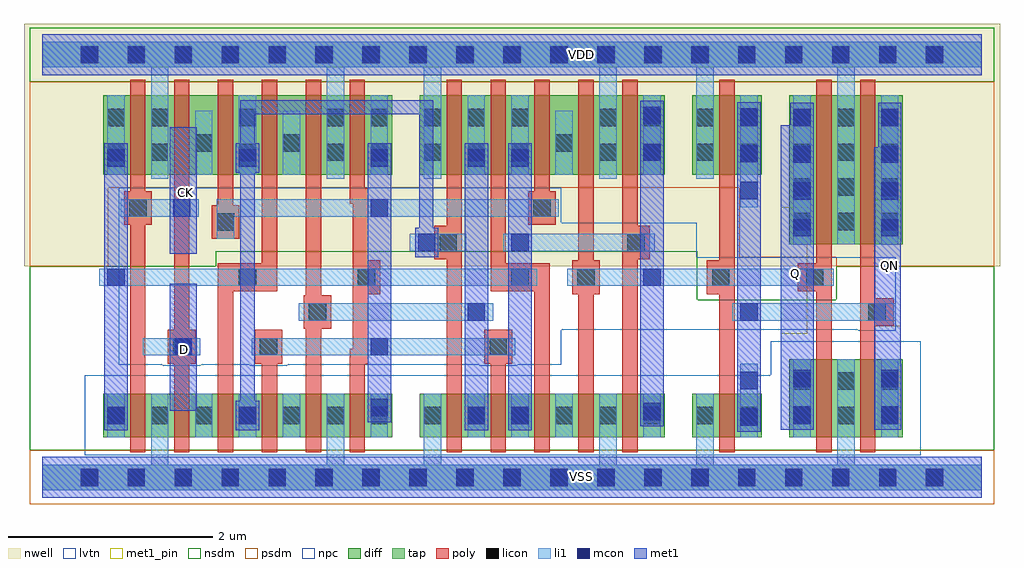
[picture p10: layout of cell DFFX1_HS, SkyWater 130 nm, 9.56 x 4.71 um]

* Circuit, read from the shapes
.subckt DFFX1_HS CK D Q QN VDD VSS
XM1 VSS CK n1 VSS sky130_fd_pr__nfet_01v8_lvt w=0.425 l=0.15
XM2 n2 D VSS VSS sky130_fd_pr__nfet_01v8_lvt w=0.425 l=0.15
XM3 n3 n1 n2 VSS sky130_fd_pr__nfet_01v8_lvt w=0.425 l=0.15
XM4 n4 n5 n3 VSS sky130_fd_pr__nfet_01v8_lvt w=0.425 l=0.15
XM5 VSS n6 n4 VSS sky130_fd_pr__nfet_01v8_lvt w=0.425 l=0.15
XM6 n5 n1 VSS VSS sky130_fd_pr__nfet_01v8_lvt w=0.425 l=0.15
XM7 n6 n3 VSS VSS sky130_fd_pr__nfet_01v8_lvt w=0.425 l=0.15
XM8 n7 n5 n6 VSS sky130_fd_pr__nfet_01v8_lvt w=0.425 l=0.15
XM9 n8 n1 n7 VSS sky130_fd_pr__nfet_01v8_lvt w=0.425 l=0.15
XM10 VSS n9 n8 VSS sky130_fd_pr__nfet_01v8_lvt w=0.425 l=0.15
XM11 n9 n7 VSS VSS sky130_fd_pr__nfet_01v8_lvt w=0.425 l=0.15
XM12 n10 n9 VSS VSS sky130_fd_pr__nfet_01v8_lvt w=0.425 l=0.15
XM13 VSS n9 Q VSS sky130_fd_pr__nfet_01v8_lvt w=0.76 l=0.15
XM14 QN n10 VSS VSS sky130_fd_pr__nfet_01v8_lvt w=0.76 l=0.15
XM15 VDD CK n1 VDD sky130_fd_pr__pfet_01v8 w=0.78 l=0.15
XM16 n11 D VDD VDD sky130_fd_pr__pfet_01v8 w=0.78 l=0.15
XM17 n3 n5 n11 VDD sky130_fd_pr__pfet_01v8 w=0.78 l=0.15
XM18 n12 n1 n3 VDD sky130_fd_pr__pfet_01v8 w=0.78 l=0.15
XM19 VDD n6 n12 VDD sky130_fd_pr__pfet_01v8 w=0.78 l=0.15
XM20 n5 n1 VDD VDD sky130_fd_pr__pfet_01v8 w=0.78 l=0.15
XM21 n6 n3 VDD VDD sky130_fd_pr__pfet_01v8 w=0.78 l=0.15
XM22 n7 n1 n6 VDD sky130_fd_pr__pfet_01v8 w=0.78 l=0.15
XM23 n13 n5 n7 VDD sky130_fd_pr__pfet_01v8 w=0.78 l=0.15
XM24 VDD n9 n13 VDD sky130_fd_pr__pfet_01v8 w=0.78 l=0.15
XM25 n9 n7 VDD VDD sky130_fd_pr__pfet_01v8 w=0.78 l=0.15
XM26 n10 n9 VDD VDD sky130_fd_pr__pfet_01v8 w=0.78 l=0.15
XM27 VDD n9 Q VDD sky130_fd_pr__pfet_01v8 w=1.46 l=0.15
XM28 QN n10 VDD VDD sky130_fd_pr__pfet_01v8 w=1.46 l=0.15
.ends

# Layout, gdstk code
from math import pi, radians
import gdstk
lib = gdstk.Library(unit=1e-6, precision=1e-09)
def R(c, l, rs):  # rectangles x0, y0, x1, y1
    for r in rs: c.add(gdstk.rectangle(r[:2], r[2:], *l))
def A(c, l, x, y, w, h, nx, ny, dx, dy):  # array of equal rectangles
    R(c, l, [(x+i*dx, y+j*dy, x+i*dx+w, y+j*dy+h) for i in range(nx) for j in range(ny)])
def P(c, l, *ps):  # polygons
    for p in ps: c.add(gdstk.Polygon(p, *l))
nwell = (64, 20)
diff = (65, 20)
tap = (65, 44)
poly = (66, 20)
licon = (66, 44)
li1 = (67, 20)
mcon = (67, 44)
met1_pin = (68, 16)
met1 = (68, 20)
nsdm = (93, 44)
psdm = (94, 20)
npc = (95, 20)
lvtn = (125, 44)

licondiff_c_cdns_7520165 = lib.new_cell('LICONDIFF_C_CDNS_752016586819')
R(licondiff_c_cdns_7520165, diff, [(-0.125,-0.145,0.125,0.145)])
R(licondiff_c_cdns_7520165, licon, [(-0.085,-0.085,0.085,0.085), (-0.085,-0.085,0.085,0.085)])

pyl1con_c_cdns_752016586 = lib.new_cell('PYL1CON_C_CDNS_752016586813')
R(pyl1con_c_cdns_752016586, poly, [(-0.135,-0.165,0.135,0.165)])
R(pyl1con_c_cdns_752016586, licon, [(-0.085,-0.085,0.085,0.085)])
R(pyl1con_c_cdns_752016586, npc, [(-0.185,-0.185,0.185,0.185)])

c_pyl1con_c_cdns_752016586 = lib.new_cell('PYL1CON_C_CDNS_7520165868113')
R(c_pyl1con_c_cdns_752016586, poly, [(-0.135,-0.29,0.135,0.29)])
R(c_pyl1con_c_cdns_752016586, licon, [(-0.085,-0.085,0.085,0.085)])
R(c_pyl1con_c_cdns_752016586, npc, [(-0.185,-0.185,0.185,0.185)])

l1m1_c_cdns_752016586811 = lib.new_cell('L1M1_C_CDNS_7520165868114')
R(l1m1_c_cdns_752016586811, li1, [(-0.085,-0.705,0.085,0.705)])
A(l1m1_c_cdns_752016586811, mcon, -0.085, -0.625, 0.17, 0.17, 1, 4, 0, 0.36)
R(l1m1_c_cdns_752016586811, met1, [(-0.115,-0.685,0.115,0.685)])

c_l1m1_c_cdns_752016586811 = lib.new_cell('L1M1_C_CDNS_7520165868115')
R(c_l1m1_c_cdns_752016586811, li1, [(-0.085,-0.085,0.085,0.085)])
R(c_l1m1_c_cdns_752016586811, mcon, [(-0.085,-0.085,0.085,0.085)])
R(c_l1m1_c_cdns_752016586811, met1, [(-0.115,-0.145,0.115,0.145)])

l1m1_c_cdns_752016586812 = lib.new_cell('L1M1_C_CDNS_752016586812')
R(l1m1_c_cdns_752016586812, li1, [(-0.085,-0.165,0.085,0.165)])
R(l1m1_c_cdns_752016586812, mcon, [(-0.085,-0.085,0.085,0.085)])
R(l1m1_c_cdns_752016586812, met1, [(-0.115,-0.145,0.115,0.145)])

c_l1m1_c_cdns_752016586811_ = lib.new_cell('L1M1_C_CDNS_752016586811')
R(c_l1m1_c_cdns_752016586811_, li1, [(-0.165,-0.085,0.165,0.085)])
R(c_l1m1_c_cdns_752016586811_, mcon, [(-0.085,-0.085,0.085,0.085)])
R(c_l1m1_c_cdns_752016586811_, met1, [(-0.115,-0.145,0.115,0.145)])

l1m1_c_cdns_752016586817 = lib.new_cell('L1M1_C_CDNS_752016586817')
R(l1m1_c_cdns_752016586817, li1, [(-0.085,-0.525,0.085,0.525)])
A(l1m1_c_cdns_752016586817, mcon, -0.085, -0.445, 0.17, 0.17, 1, 3, 0, 0.36)
R(l1m1_c_cdns_752016586817, met1, [(-0.115,-0.505,0.115,0.505)])

l1m1_c_cdns_752016586816 = lib.new_cell('L1M1_C_CDNS_752016586816')
R(l1m1_c_cdns_752016586816, li1, [(-0.085,-0.345,0.085,0.345)])
R(l1m1_c_cdns_752016586816, mcon, [(-0.085,-0.265,0.085,-0.095), (-0.085,0.095,0.085,0.265)])
R(l1m1_c_cdns_752016586816, met1, [(-0.115,-0.325,0.115,0.325)])

dffx1_hs = lib.new_cell('DFFX1_HS')
R(dffx1_hs, nwell, [(-0.18,2.07,9.38,4.445)])
R(dffx1_hs, diff, [(0.595,0.395,3.425,0.82), (3.695,0.395,6.095,0.82), (6.365,0.395,7.045,0.82), (7.315,0.395,8.425,1.155), (7.315,2.285,8.425,3.745), (0.595,2.965,3.425,3.745), (3.695,2.965,6.095,3.745), (6.365,2.965,7.045,3.745)])
A(dffx1_hs, poly, 5.68, 0.245, 0.15, 3.65, 3, 1, 0.95, 0)
R(dffx1_hs, poly, [(0.86,0.245,1.01,3.895), (1.29,0.245,1.44,3.895), (2.15,0.245,2.3,1.365), (2.58,0.245,2.73,3.895), (3.96,0.245,4.11,3.895), (4.39,0.245,4.54,1.29), (5.25,0.245,5.4,3.895), (8.01,0.245,8.16,3.895), (1.72,2.51,1.87,3.895), (4.82,2.805,4.97,3.895)])
P(dffx1_hs, poly, [(2.3,3.895),(2.15,3.895),(2.15,2.045),(1.72,2.045),(1.72,0.245),(1.87,0.245),(1.87,1.895),(2.3,1.895)],
  [(3.19,2.83),(3.16,2.83),(3.16,3.895),(3.01,3.895),(3.01,2.68),(3.04,2.68),(3.04,1.26),(3.01,1.26),(3.01,0.245),(3.16,0.245),(3.16,1.11),(3.19,1.11)],
  [(4.97,2.045),(4.54,2.045),(4.54,3.895),(4.39,3.895),(4.39,1.895),(4.82,1.895),(4.82,0.245),(4.97,0.245)])
A(dffx1_hs, licon, 0.375, -0.085, 0.17, 0.17, 19, 2, 0.46, 4.14)
A(dffx1_hs, licon, 1.065, 0.52, 0.17, 0.17, 3, 2, 0.86, 2.58)
A(dffx1_hs, licon, 3.735, 0.52, 0.17, 0.17, 6, 1, 0.43, 0)
A(dffx1_hs, licon, 7.355, 0.52, 0.17, 0.17, 3, 2, 0.43, 0.34)
A(dffx1_hs, licon, 7.355, 2.42, 0.17, 0.17, 3, 4, 0.43, 0.34)
A(dffx1_hs, licon, 3.735, 3.1, 0.17, 0.17, 3, 2, 0.43, 0.34)
A(dffx1_hs, licon, 1.065, 3.44, 0.17, 0.17, 3, 1, 0.86, 0)
R(dffx1_hs, licon, [(0.635,0.52,0.805,0.69), (3.215,0.52,3.385,0.69), (6.405,0.52,6.575,0.69), (6.835,0.52,7.005,0.69), (0.635,3.1,0.805,3.27), (3.215,3.1,3.385,3.27), (5.455,3.1,5.625,3.27), (5.885,3.1,6.055,3.27), (6.405,3.1,6.575,3.27), (6.835,3.1,7.005,3.27), (0.635,3.44,0.805,3.61), (3.215,3.44,3.385,3.61), (5.455,3.44,5.625,3.61), (5.885,3.44,6.055,3.61), (6.405,3.44,6.575,3.61), (6.835,3.44,7.005,3.61)])
A(dffx1_hs, li1, 0.635, 0.395, 0.17, 0.425, 3, 1, 1.29, 0)
A(dffx1_hs, li1, 4.165, 0.395, 0.17, 0.425, 3, 1, 0.43, 0)
A(dffx1_hs, li1, 0.635, 2.965, 0.17, 0.78, 3, 1, 1.29, 0)
R(dffx1_hs, li1, [(5.885,0.395,6.055,0.82), (6.835,0.395,7.005,0.82), (7.355,0.395,7.525,1.155), (8.215,0.395,8.385,1.155), (7.355,2.285,7.525,3.745), (8.215,2.285,8.385,3.745), (4.165,2.965,4.335,3.745), (4.595,2.965,4.765,3.745), (5.885,2.965,6.055,3.745), (6.835,2.965,7.005,3.745)])
P(dffx1_hs, li1, [(5.06,2.725),(1.71,2.725),(1.71,2.335),(1.88,2.335),(1.88,2.555),(5.06,2.555)],
  [(9.2,4.265),(0,4.265),(0,4.015),(1.065,4.015),(1.065,2.925),(1.235,2.925),(1.235,4.015),(2.785,4.015),(2.785,2.925),(2.955,2.925),(2.955,4.015),(3.735,4.015),(3.735,2.925),(3.905,2.925),(3.905,4.015),(5.455,4.015),(5.455,2.925),(5.625,2.925),(5.625,4.015),(6.405,4.015),(6.405,2.925),(6.575,2.925),(6.575,4.015),(7.785,4.015),(7.785,2.285),(7.955,2.285),(7.955,4.015),(9.2,4.015)],
  [(9.2,0.125),(7.955,0.125),(7.955,1.155),(7.785,1.155),(7.785,0.125),(6.575,0.125),(6.575,0.82),(6.405,0.82),(6.405,0.125),(5.625,0.125),(5.625,0.82),(5.455,0.82),(5.455,0.125),(3.905,0.125),(3.905,0.82),(3.735,0.82),(3.735,0.125),(2.955,0.125),(2.955,0.82),(2.785,0.82),(2.785,0.125),(1.235,0.125),(1.235,0.82),(1.065,0.82),(1.065,0.125),(0,0.125),(0,-0.125),(9.2,-0.125)])
A(dffx1_hs, mcon, 0.375, -0.085, 0.17, 0.17, 19, 2, 0.46, 4.14)
R(dffx1_hs, met1_pin, [(1.25,0.655,1.51,1.895), (7.23,1.405,7.49,2.645), (8.15,1.48,8.41,2.72), (1.25,2.19,1.51,3.43)])
P(dffx1_hs, met1, [(7.555,3.235),(7.49,3.235),(7.49,3.45),(7.23,3.45),(7.23,0.465),(7.555,0.465)])
R(dffx1_hs, nsdm, [(-0.125,3.875,9.325,4.405)])
P(dffx1_hs, nsdm, [(9.325,2.07),(7.775,2.07),(7.775,1.74),(6.415,1.74),(6.415,2.215),(1.7,2.215),(1.7,2.07),(-0.125,2.07),(-0.125,0.265),(9.325,0.265)])
R(dffx1_hs, psdm, [(-0.125,-0.265,9.325,0.265)])
P(dffx1_hs, psdm, [(9.325,3.875),(-0.125,3.875),(-0.125,2.07),(0.645,2.07),(0.645,2.835),(6.825,2.835),(6.825,2.155),(7.775,2.155),(7.775,2.07),(9.325,2.07)])
P(dffx1_hs, npc, [(8.36,2.155),(6.41,2.155),(6.41,2.495),(5.08,2.495),(5.08,2.835),(0.75,2.835),(0.75,1.105),(5.08,1.105),(5.08,1.445),(8.36,1.445)])
P(dffx1_hs, lvtn, [(8.605,1.335),(7.135,1.335),(7.135,1),(0.415,1),(0.415,0.215),(8.605,0.215)])
dffx1_hs.add(gdstk.FlexPath([(3.765,2.3),(4.15,2.3)], 0.17, ends="flush", simple_path=True, layer=67, datatype=20))  # li1
dffx1_hs.add(gdstk.FlexPath([(1.58,0.395),(1.58,0.82)], 0.17, ends="flush", simple_path=True, layer=67, datatype=20))  # li1
dffx1_hs.add(gdstk.FlexPath([(1.58,2.965),(1.58,3.59)], 0.17, ends="flush", simple_path=True, layer=67, datatype=20))  # li1
dffx1_hs.add(gdstk.FlexPath([(4.415,1.62),(2.51,1.62)], 0.17, ends="flush", simple_path=True, layer=67, datatype=20))  # li1
dffx1_hs.add(gdstk.FlexPath([(2.05,1.28),(4.63,1.28)], 0.17, ends="flush", simple_path=True, layer=67, datatype=20))  # li1
dffx1_hs.add(gdstk.FlexPath([(0.555,1.96),(4.845,1.96)], 0.17, ends="flush", simple_path=True, layer=67, datatype=20))  # li1
dffx1_hs.add(gdstk.FlexPath([(2.44,0.395),(2.44,0.82)], 0.17, ends="flush", simple_path=True, layer=67, datatype=20))  # li1
dffx1_hs.add(gdstk.FlexPath([(5.11,2.965),(5.11,3.59)], 0.17, ends="flush", simple_path=True, layer=67, datatype=20))  # li1
dffx1_hs.add(gdstk.FlexPath([(0.985,1.28),(1.53,1.28)], 0.17, ends="flush", simple_path=True, layer=67, datatype=20))  # li1
dffx1_hs.add(gdstk.FlexPath([(0.77,2.64),(1.315,2.64)], 0.17, ends="flush", simple_path=True, layer=67, datatype=20))  # li1
dffx1_hs.add(gdstk.FlexPath([(5.14,1.96),(7.75,1.96)], 0.17, ends="flush", simple_path=True, layer=67, datatype=20))  # li1
dffx1_hs.add(gdstk.FlexPath([(2.44,2.965),(2.44,3.59)], 0.17, ends="flush", simple_path=True, layer=67, datatype=20))  # li1
dffx1_hs.add(gdstk.FlexPath([(4.515,2.3),(6,2.3)], 0.17, ends="flush", simple_path=True, layer=67, datatype=20))  # li1
dffx1_hs.add(gdstk.FlexPath([(6.755,1.62),(8.36,1.62)], 0.17, ends="flush", simple_path=True, layer=67, datatype=20))  # li1
dffx1_hs.add(gdstk.FlexPath([(0,4.14),(9.2,4.14)], 0.25, ends="flush", simple_path=True, layer=65, datatype=44))  # tap
dffx1_hs.add(gdstk.FlexPath([(0,0),(9.2,0)], 0.25, ends="flush", simple_path=True, layer=65, datatype=44))  # tap
dffx1_hs.add(gdstk.FlexPath([(0,4.14),(9.2,4.14)], 0.4, ends="flush", simple_path=True, layer=68, datatype=20))  # met1
dffx1_hs.add(gdstk.FlexPath([(0,0),(9.2,0)], 0.4, ends="flush", simple_path=True, layer=68, datatype=20))  # met1
dffx1_hs.add(gdstk.FlexPath([(2.01,0.655),(2.01,3.625),(3.76,3.625),(3.76,2.31)], 0.14, ends=(0, 0.07), simple_path=True, layer=68, datatype=20))  # met1
dffx1_hs.add(gdstk.FlexPath([(4.68,0.705),(4.68,3.235)], 0.23, ends="flush", simple_path=True, layer=68, datatype=20))  # met1
dffx1_hs.add(gdstk.FlexPath([(3.3,0.785),(3.3,3.235)], 0.23, ends="flush", simple_path=True, layer=68, datatype=20))  # met1
dffx1_hs.add(gdstk.FlexPath([(4.25,0.705),(4.25,3.235)], 0.23, ends="flush", simple_path=True, layer=68, datatype=20))  # met1
dffx1_hs.add(gdstk.FlexPath([(1.38,0.655),(1.38,1.895)], 0.26, ends="flush", simple_path=True, layer=68, datatype=20))  # met1
dffx1_hs.add(gdstk.FlexPath([(0.72,0.705),(0.72,3.235)], 0.23, ends="flush", simple_path=True, layer=68, datatype=20))  # met1
dffx1_hs.add(gdstk.FlexPath([(5.97,0.745),(5.97,3.315)], 0.23, ends="flush", simple_path=True, layer=68, datatype=20))  # met1
dffx1_hs.add(gdstk.FlexPath([(1.38,2.19),(1.38,3.43)], 0.26, ends="flush", simple_path=True, layer=68, datatype=20))  # met1
dffx1_hs.add(gdstk.FlexPath([(8.28,0.465),(8.28,3.235)], 0.26, ends="flush", simple_path=True, layer=68, datatype=20))  # met1
dffx1_hs.add(gdstk.FlexPath([(6.92,0.68),(6.92,3.45)], 0.23, ends="flush", simple_path=True, layer=68, datatype=20))  # met1
dffx1_hs.add(gdstk.FlexPath([(0,4.14),(9.2,4.14)], 0.4, ends="flush", simple_path=True, layer=68, datatype=16))  # met1_pin
dffx1_hs.add(gdstk.FlexPath([(0,0),(9.2,0)], 0.4, ends="flush", simple_path=True, layer=68, datatype=16))  # met1_pin
dffx1_hs.add(gdstk.Reference(licondiff_c_cdns_7520165, (5.11,3.275)))
dffx1_hs.add(gdstk.Reference(licondiff_c_cdns_7520165, (2.44,3.275)))
dffx1_hs.add(gdstk.Reference(licondiff_c_cdns_7520165, (1.58,3.275)))
dffx1_hs.add(gdstk.Reference(licondiff_c_cdns_7520165, (2.44,0.605)))
dffx1_hs.add(gdstk.Reference(licondiff_c_cdns_7520165, (1.58,0.605)))
dffx1_hs.add(gdstk.Reference(pyl1con_c_cdns_752016586, (6.645,1.96), x_reflection=True))
dffx1_hs.add(gdstk.Reference(pyl1con_c_cdns_752016586, (5.325,1.96), x_reflection=True))
dffx1_hs.add(gdstk.Reference(pyl1con_c_cdns_752016586, (5.815,2.3), rotation=pi, x_reflection=True))
dffx1_hs.add(gdstk.Reference(pyl1con_c_cdns_752016586, (3.175,1.96)))
dffx1_hs.add(gdstk.Reference(pyl1con_c_cdns_752016586, (2.215,1.28), x_reflection=True))
dffx1_hs.add(gdstk.Reference(pyl1con_c_cdns_752016586, (8.175,1.62), rotation=pi/2, x_reflection=True))
dffx1_hs.add(gdstk.Reference(pyl1con_c_cdns_752016586, (4.895,2.64), rotation=pi))
dffx1_hs.add(gdstk.Reference(pyl1con_c_cdns_752016586, (7.565,1.96), rotation=pi/2, x_reflection=True))
dffx1_hs.add(gdstk.Reference(pyl1con_c_cdns_752016586, (1.795,2.5), rotation=pi))
dffx1_hs.add(gdstk.Reference(pyl1con_c_cdns_752016586, (1.365,1.28), x_reflection=True))
dffx1_hs.add(gdstk.Reference(pyl1con_c_cdns_752016586, (4.465,1.28), x_reflection=True))
dffx1_hs.add(gdstk.Reference(pyl1con_c_cdns_752016586, (0.935,2.64), rotation=pi))
dffx1_hs.add(gdstk.Reference(pyl1con_c_cdns_752016586, (3.975,2.3), x_reflection=True))
dffx1_hs.add(gdstk.Reference(pyl1con_c_cdns_752016586, (2.695,1.62), rotation=pi))
dffx1_hs.add(gdstk.Reference(c_pyl1con_c_cdns_752016586, (2.01,1.96), rotation=pi/2, x_reflection=True))
dffx1_hs.add(gdstk.Reference(c_pyl1con_c_cdns_752016586, (4.68,1.96), rotation=pi/2))
dffx1_hs.add(gdstk.Reference(l1m1_c_cdns_752016586811, (7.44,2.985)))
dffx1_hs.add(gdstk.Reference(l1m1_c_cdns_752016586811, (8.3,2.985)))
dffx1_hs.add(gdstk.Reference(c_l1m1_c_cdns_752016586811, (3.3,0.685), rotation=pi, x_reflection=True))
dffx1_hs.add(gdstk.Reference(l1m1_c_cdns_752016586812, (2.01,3.13), rotation=pi, x_reflection=True))
dffx1_hs.add(gdstk.Reference(l1m1_c_cdns_752016586812, (2.01,0.605), rotation=pi, x_reflection=True))
dffx1_hs.add(gdstk.Reference(l1m1_c_cdns_752016586812, (4.25,0.605), rotation=pi, x_reflection=True))
dffx1_hs.add(gdstk.Reference(l1m1_c_cdns_752016586812, (4.25,3.13), rotation=pi, x_reflection=True))
dffx1_hs.add(gdstk.Reference(l1m1_c_cdns_752016586812, (4.68,0.605), rotation=pi, x_reflection=True))
dffx1_hs.add(gdstk.Reference(l1m1_c_cdns_752016586812, (4.68,3.13), rotation=pi, x_reflection=True))
dffx1_hs.add(gdstk.Reference(l1m1_c_cdns_752016586812, (0.72,0.605), rotation=pi, x_reflection=True))
dffx1_hs.add(gdstk.Reference(l1m1_c_cdns_752016586812, (0.72,3.13), rotation=pi, x_reflection=True))
dffx1_hs.add(gdstk.Reference(l1m1_c_cdns_752016586812, (5.97,0.645), rotation=pi, x_reflection=True))
dffx1_hs.add(gdstk.Reference(l1m1_c_cdns_752016586812, (3.3,3.13), rotation=pi, x_reflection=True))
dffx1_hs.add(gdstk.Reference(c_l1m1_c_cdns_752016586811_, (3.3,2.64)))
dffx1_hs.add(gdstk.Reference(c_l1m1_c_cdns_752016586811_, (4.25,1.62)))
dffx1_hs.add(gdstk.Reference(c_l1m1_c_cdns_752016586811_, (4.68,2.3)))
dffx1_hs.add(gdstk.Reference(c_l1m1_c_cdns_752016586811_, (1.38,1.28), x_reflection=True))
dffx1_hs.add(gdstk.Reference(c_l1m1_c_cdns_752016586811_, (3.3,1.28)))
dffx1_hs.add(gdstk.Reference(c_l1m1_c_cdns_752016586811_, (1.365,2.64), x_reflection=True))
dffx1_hs.add(gdstk.Reference(c_l1m1_c_cdns_752016586811_, (0.72,1.96), rotation=pi, x_reflection=True))
dffx1_hs.add(gdstk.Reference(c_l1m1_c_cdns_752016586811_, (3.765,2.3)))
dffx1_hs.add(gdstk.Reference(c_l1m1_c_cdns_752016586811_, (6.92,1.62), x_reflection=True))
dffx1_hs.add(gdstk.Reference(c_l1m1_c_cdns_752016586811_, (5.97,1.96), rotation=pi, x_reflection=True))
dffx1_hs.add(gdstk.Reference(l1m1_c_cdns_752016586817, (6.92,3.17)))
dffx1_hs.add(gdstk.Reference(l1m1_c_cdns_752016586816, (5.97,3.365), rotation=pi, x_reflection=True))
dffx1_hs.add(gdstk.Reference(l1m1_c_cdns_752016586816, (7.44,0.79)))
dffx1_hs.add(gdstk.Reference(l1m1_c_cdns_752016586816, (8.3,0.79)))
dffx1_hs.add(gdstk.Reference(l1m1_c_cdns_752016586816, (6.92,0.77)))
dffx1_hs.add(gdstk.Label('VDD', (5.285,4.145), layer=68, texttype=5))
dffx1_hs.add(gdstk.Label('CK', (1.405,2.795), layer=68, texttype=5))
dffx1_hs.add(gdstk.Label('Q', (7.375,2), layer=68, texttype=5))
dffx1_hs.add(gdstk.Label('QN', (8.295,2.075), layer=68, texttype=5))
dffx1_hs.add(gdstk.Label('VSS', (5.285,0.005), layer=68, texttype=5))
dffx1_hs.add(gdstk.Label('D', (1.395,1.25), layer=68, texttype=5))

lib.write_gds('DFFX1_HS.gds')
